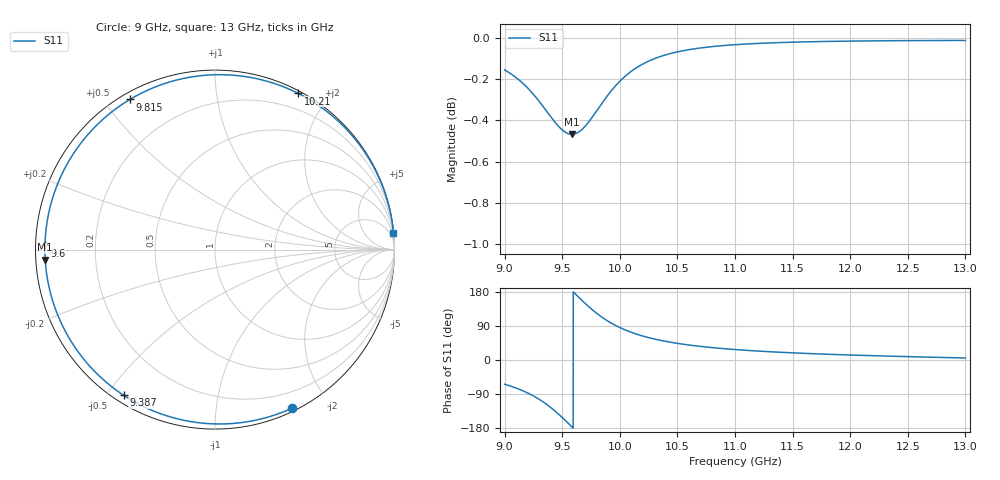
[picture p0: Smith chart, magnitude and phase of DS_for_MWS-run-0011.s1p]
! TOUCHSTONE file generated by CST DESIGN STUDIO
! Date and time: Tue Feb  4 13:59:24 2025
! Project name: C:\Work\MatlabApps\UnitCellOptimizationMatlab\CST\unitcell.cst
! Tree item: Tasks\Sweep1\SPara1\S-Parameters
! Header version: 2024
! Port assignment regex: !\s*Touchstone port\s*([0-9]+)\s*=\s*(CST MWS port|CST DES external port|CST DES block port)\s*(.+)\s* \(\"(.*)\"\)(\s*mode\s*([0-9]+))?.*
! Touchstone port assignment:
! Touchstone port 1 = CST DES external port 1 ("")
# GHz S MA R 50
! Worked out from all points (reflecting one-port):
!   4001 points, 9 GHz to 13 GHz, reference 50 ohm
!   lowest |S11| = -0.5 dB at 9.584 GHz (marker M1), VSWR 37.21, Z = 1.34 - j1.5 ohm
!   phase of S11 starts at -64 deg and turns -291 deg over the sweep
!   S11 on the Smith chart (normalised r, x): 9 GHz: 0.03, -1.60; 9.387 GHz: 0.03, -0.55; 9.6 GHz: 0.03, +0.01; 9.815 GHz: 0.03, +0.58; 10.21 GHz: 0.03, +1.67; 13 GHz: 0, +21
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9  0.9824 -63.9
9.048  0.9805 -68.5
9.117  0.9773 -76.0
9.236  0.9701 -92.5
9.316  0.964 -106.8
9.387  0.9581 -122.1
9.443  0.9536 -136.0
9.5  0.95 -151.6
9.543  0.9482 -164.2
9.584  0.9477 -176.6
9.6  0.9477 178.6
9.655  0.9494 162.0
9.716  0.9531 144.5
9.765  0.9572 131.6
9.815  0.9616 119.5
9.856  0.9652 110.6
9.899  0.9689 102.2
10  0.9762 85.7
10.103  0.9818 72.7
10.215  0.9862 61.9
10.346  0.9897 52.3
10.5  0.9924 43.9
10.72  0.9947 35.2
11  0.9964 27.6
11.5  0.9978 18.8
12  0.9984 13.1
12.5  0.9987 8.9
13  0.9987 5.3
